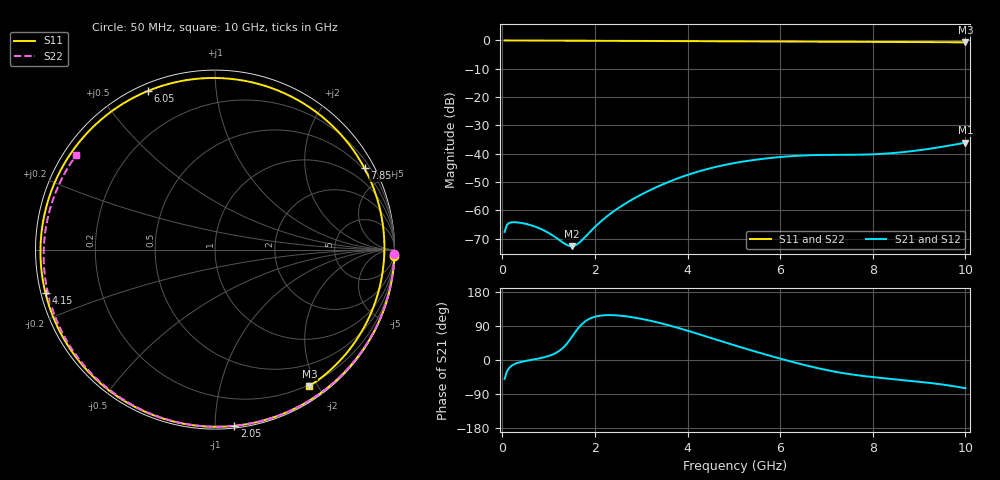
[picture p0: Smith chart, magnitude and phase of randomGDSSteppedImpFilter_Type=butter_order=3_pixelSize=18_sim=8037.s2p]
! freq	dB(S11)	phase(S11)	dB(S12)	phase(S12)
!  dB(S21)	phase(S21)	dB(S22)	phase(S22)
!S-par simulation data
#  GHz  S  DB  R 50
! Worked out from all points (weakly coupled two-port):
!   200 points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, 50 MHz to 10 GHz, reference 50 ohm
!   highest |S21| = -36.11 dB at 10 GHz (marker M1); lowest = -72.7 dB at 1.5 GHz (marker M2)
!   lowest |S11| = -0.7 dB at 10 GHz (marker M3), VSWR 25.54, Z = 9.02 - j94.7 ohm
!   |S11| at or under -10 dB: nowhere
!   |S22| runs from -0.6 to 0.0 dB; largest |S21 - S12| = 0
!   S11 on the Smith chart (normalised r, x): 50 MHz: 0, -54; 2.05 GHz: 0.01, -1.12; 4.15 GHz: 0.01, -0.13; 6.05 GHz: 0.03, +0.66; 7.85 GHz: 0.43, +3.89; 10 GHz: 0.18, -1.89
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0.05  -0.00 -2.1  -67.63 -49.9  -67.63 -49.9  -0.00 -1.3
0.1  -0.00 -4.2  -65.11 -30.3  -65.11 -30.3  -0.00 -2.6
0.15  -0.00 -6.3  -64.47 -20.8  -64.47 -20.8  -0.00 -3.9
0.5  -0.02 -21.0  -64.76 -2.6  -64.76 -2.6  -0.01 -13.1
1  -0.05 -41.6  -68.00 10.5  -68.00 10.5  -0.03 -26.0
1.5  -0.08 -61.9  -72.68 60.4  -72.68 60.4  -0.05 -38.6
1.75  -0.09 -71.8  -70.10 98.1  -70.10 98.1  -0.06 -44.8
2.05  -0.10 -83.7  -65.11 115.6  -65.11 115.6  -0.07 -52.2
2.7  -0.14 -109.0  -57.20 114.8  -57.20 114.8  -0.09 -67.6
3.4  -0.17 -136.1  -51.30 97.7  -51.30 97.7  -0.11 -83.5
4.15  -0.22 -165.5  -46.71 71.8  -46.71 71.8  -0.13 -99.7
4.6  -0.25 176.3  -44.71 54.5  -44.71 54.5  -0.15 -109.0
5.05  -0.28 157.5  -43.20 37.4  -43.20 37.4  -0.17 -118.1
5.55  -0.32 135.7  -41.97 19.2  -41.97 19.2  -0.20 -128.0
6.05  -0.36 113.0  -41.11 2.0  -41.11 2.0  -0.23 -137.6
6.7  -0.40 82.5  -40.52 -18.3  -40.52 -18.3  -0.27 -150.0
7.25  -0.43 56.3  -40.41 -32.3  -40.41 -32.3  -0.32 -160.4
7.85  -0.46 28.5  -40.30 -43.0  -40.30 -43.0  -0.37 -171.7
8.35  -0.49 6.5  -39.89 -49.4  -39.89 -49.4  -0.41 178.7
9.05  -0.55 -21.8  -38.68 -57.9  -38.68 -57.9  -0.48 165.1
9.55  -0.61 -40.1  -37.42 -65.5  -37.42 -65.5  -0.53 155.0
10  -0.68 -55.4  -36.11 -74.4  -36.11 -74.4  -0.58 145.7
